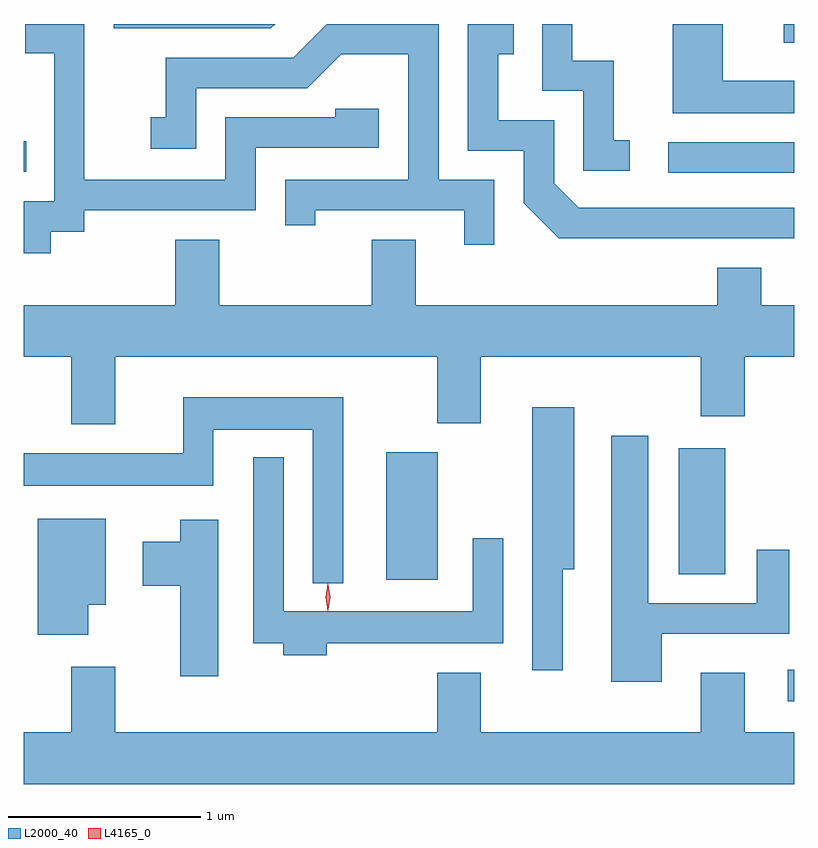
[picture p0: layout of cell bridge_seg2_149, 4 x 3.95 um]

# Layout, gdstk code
import gdstk
lib = gdstk.Library(unit=1e-6, precision=1e-09)
def R(c, l, rs):  # rectangles x0, y0, x1, y1
    for r in rs: c.add(gdstk.rectangle(r[:2], r[2:], *l))
def P(c, l, *ps):  # polygons
    for p in ps: c.add(gdstk.Polygon(p, *l))
L2000_40 = (2000, 40)
L4165_0 = (4165, 0)

bridge_seg2_149 = lib.new_cell('bridge_seg2_149')
R(bridge_seg2_149, L2000_40, [(1065.753,1104.246,1065.785,1104.409), (1063.666,1104.876,1063.934,1105.539), (1065.186,1104.906,1065.429,1105.559), (1065.133,1106.991,1065.785,1107.149), (1061.785,1106.996,1061.798,1107.154), (1065.731,1107.666,1065.785,1107.764)])
P(bridge_seg2_149, L2000_40, [(1065.785,1107.469),(1065.414,1107.469),(1065.414,1107.764),(1065.156,1107.764),(1065.156,1107.301),(1065.785,1107.301)],
  [(1061.924,1106.686),(1062.099,1106.686),(1062.099,1106.796),(1062.989,1106.796),(1062.989,1107.121),(1063.629,1107.121),(1063.629,1107.324),(1063.401,1107.324),(1063.401,1107.279),(1062.831,1107.279),(1062.831,1106.954),(1062.099,1106.954),(1062.099,1107.764),(1061.791,1107.764),(1061.791,1107.611),(1061.941,1107.611),(1061.941,1106.844),(1061.785,1106.844),(1061.785,1106.573),(1061.924,1106.573)],
  [(1063.09,1107.764),(1062.251,1107.764),(1062.251,1107.741),(1063.067,1107.741)],
  [(1064.933,1107.159),(1064.849,1107.159),(1064.849,1107.574),(1064.634,1107.574),(1064.634,1107.764),(1064.476,1107.764),(1064.476,1107.416),(1064.691,1107.416),(1064.691,1107.001),(1064.933,1107.001)],
  [(1065.785,1106.809),(1064.667,1106.809),(1064.539,1106.937),(1064.539,1107.264),(1064.249,1107.264),(1064.249,1107.606),(1064.328,1107.606),(1064.328,1107.764),(1064.091,1107.764),(1064.091,1107.106),(1064.381,1107.106),(1064.381,1106.834),(1064.564,1106.651),(1065.785,1106.651)],
  [(1064.229,1106.954),(1063.939,1106.954),(1063.939,1107.764),(1063.359,1107.764),(1063.184,1107.589),(1062.521,1107.589),(1062.521,1107.279),(1062.443,1107.279),(1062.443,1107.116),(1062.679,1107.116),(1062.679,1107.431),(1063.257,1107.431),(1063.432,1107.606),(1063.781,1107.606),(1063.781,1106.954),(1063.141,1106.954),(1063.141,1106.718),(1063.299,1106.718),(1063.299,1106.796),(1064.071,1106.796),(1064.071,1106.618),(1064.229,1106.618)],
  [(1062.259,1106.036),(1063.931,1106.036),(1063.931,1105.691),(1064.159,1105.691),(1064.159,1106.036),(1065.301,1106.036),(1065.301,1105.726),(1065.529,1105.726),(1065.529,1106.036),(1065.785,1106.036),(1065.785,1106.304),(1065.614,1106.304),(1065.614,1106.499),(1065.386,1106.499),(1065.386,1106.304),(1063.819,1106.304),(1063.819,1106.644),(1063.591,1106.644),(1063.591,1106.304),(1062.799,1106.304),(1062.799,1106.644),(1062.571,1106.644),(1062.571,1106.304),(1061.785,1106.304),(1061.785,1106.036),(1062.031,1106.036),(1062.031,1105.686),(1062.259,1105.686)],
  [(1063.444,1105.824),(1062.611,1105.824),(1062.611,1105.534),(1061.785,1105.534),(1061.785,1105.366),(1062.769,1105.366),(1062.769,1105.656),(1063.286,1105.656),(1063.286,1104.858),(1063.444,1104.858)],
  [(1064.584,1104.931),(1064.644,1104.931),(1064.644,1105.774),(1064.426,1105.774),(1064.426,1104.408),(1064.584,1104.408)],
  [(1065.099,1104.596),(1065.759,1104.596),(1065.759,1105.033),(1065.591,1105.033),(1065.591,1104.754),(1065.029,1104.754),(1065.029,1105.624),(1064.836,1105.624),(1064.836,1104.346),(1065.099,1104.346)],
  [(1063.359,1104.546),(1064.274,1104.546),(1064.274,1105.093),(1064.116,1105.093),(1064.116,1104.714),(1063.134,1104.714),(1063.134,1105.513),(1062.976,1105.513),(1062.976,1104.546),(1063.131,1104.546),(1063.131,1104.486),(1063.359,1104.486)],
  [(1062.119,1104.746),(1062.209,1104.746),(1062.209,1105.194),(1061.856,1105.194),(1061.856,1104.591),(1062.119,1104.591)],
  [(1062.794,1105.189),(1062.596,1105.189),(1062.596,1105.074),(1062.401,1105.074),(1062.401,1104.846),(1062.596,1104.846),(1062.596,1104.376),(1062.794,1104.376)],
  [(1065.785,1104.084),(1065.529,1104.084),(1065.529,1104.394),(1065.301,1104.394),(1065.301,1104.084),(1064.159,1104.084),(1064.159,1104.394),(1063.931,1104.394),(1063.931,1104.084),(1062.259,1104.084),(1062.259,1104.424),(1062.031,1104.424),(1062.031,1104.084),(1061.785,1104.084),(1061.785,1103.816),(1065.785,1103.816)])
P(bridge_seg2_149, L4165_0, [(1063.362,1104.717),(1063.353,1104.787),(1063.362,1104.856),(1063.363,1104.856),(1063.363,1104.856),(1063.373,1104.787),(1063.363,1104.717),(1063.363,1104.717)],
  [(1063.365,1104.719),(1063.364,1104.72),(1063.355,1104.786),(1063.364,1104.852),(1063.365,1104.853),(1063.366,1104.852),(1063.375,1104.786),(1063.366,1104.72)])

lib.write_gds('bridge_seg2_149.gds')
